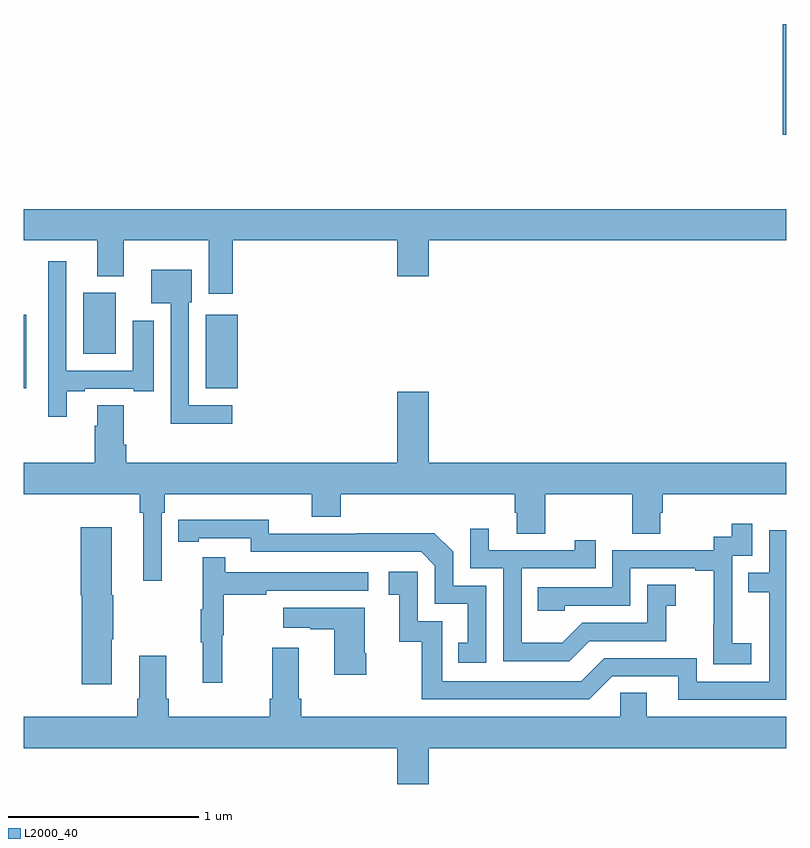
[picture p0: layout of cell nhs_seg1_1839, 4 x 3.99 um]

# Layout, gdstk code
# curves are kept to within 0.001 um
import gdstk
lib = gdstk.Library(unit=1e-6, precision=1e-09)
def R(c, l, rs):  # rectangles x0, y0, x1, y1
    for r in rs: c.add(gdstk.rectangle(r[:2], r[2:], *l))
def P(c, l, *ps):  # polygons
    for p in ps: c.add(gdstk.Polygon(p, *l))
L2000_40 = (2000, 40)

nhs_seg1_1839 = lib.new_cell('nhs_seg1_1839')
R(nhs_seg1_1839, L2000_40, [(211,552.287,211.012,552.673), (211.955,552.287,212.122,552.673), (211.313,552.47,211.483,552.79), (214.982,553.617,215,554.199)])
P(nhs_seg1_1839, L2000_40, [(212.096,553.064),(212.96,553.064),(212.96,552.876),(213.124,552.876),(213.124,553.064),(215,553.064),(215,553.228),(211,553.228),(211,553.064),(211.385,553.064),(211.385,552.875),(211.525,552.875),(211.525,553.064),(211.97,553.064),(211.97,552.783),(212.096,552.783)],
  [(211.225,552.273),(211.321,552.273),(211.321,552.285),(211.577,552.285),(211.577,552.273),(211.681,552.273),(211.681,552.643),(211.571,552.643),(211.571,552.381),(211.224,552.381),(211.224,552.955),(211.128,552.955),(211.128,552.138),(211.225,552.138)],
  [(212.095,552.198),(211.866,552.198),(211.866,552.738),(211.882,552.738),(211.882,552.91),(211.67,552.91),(211.67,552.734),(211.77,552.734),(211.77,552.101),(212.095,552.101)],
  [(211.725,551.636),(211.739,551.636),(211.739,551.732),(212.51,551.732),(212.51,551.615),(212.663,551.615),(212.663,551.732),(213.575,551.732),(213.575,551.634),(213.587,551.634),(213.587,551.524),(213.735,551.524),(213.735,551.732),(214.192,551.732),(214.192,551.524),(214.339,551.524),(214.339,551.634),(214.352,551.634),(214.352,551.732),(215,551.732),(215,551.896),(213.124,551.896),(213.124,552.271),(212.96,552.271),(212.96,551.896),(211.538,551.896),(211.538,551.992),(211.525,551.992),(211.525,552.2),(211.385,552.2),(211.385,552.092),(211.373,552.092),(211.373,551.896),(211,551.896),(211,551.732),(211.609,551.732),(211.609,551.636),(211.628,551.636),(211.628,551.277),(211.725,551.277)],
  [(213.426,551.253),(213.252,551.253),(213.252,551.43),(213.154,551.528),(212.746,551.528),(212.746,551.526),(212.286,551.526),(212.286,551.599),(211.81,551.598),(211.81,551.482),(211.918,551.482),(211.918,551.502),(212.19,551.502),(212.19,551.43),(213.084,551.43),(213.156,551.358),(213.156,551.157),(213.329,551.157),(213.329,550.953),(213.28,550.953),(213.28,550.848),(213.426,550.848)],
  [(214.816,550.951),(214.718,550.951),(214.718,551.18),(214.716,551.18),(214.716,551.409),(214.821,551.409),(214.821,551.578),(214.713,551.578),(214.713,551.508),(214.62,551.508),(214.62,551.439),(214.086,551.439),(214.086,551.244),(213.697,551.244),(213.697,551.121),(213.837,551.121),(213.837,551.148),(214.182,551.148),(214.182,551.343),(214.523,551.343),(214.523,551.331),(214.619,551.331),(214.619,551.047),(214.618,551.047),(214.618,550.841),(214.816,550.841)],
  [(211.462,550.972),(211.47,550.972),(211.47,551.202),(211.462,551.202),(211.462,551.56),(211.298,551.56),(211.298,551.202),(211.304,551.202),(211.304,550.734),(211.462,550.734)],
  [(213.967,550.962),(214.371,550.962),(214.371,551.147),(214.42,551.147),(214.42,551.257),(214.272,551.257),(214.272,551.058),(213.93,551.058),(213.826,550.954),(213.612,550.954),(213.612,551.343),(214.001,551.343),(214.001,551.491),(213.89,551.491),(213.89,551.439),(213.439,551.439),(213.439,551.551),(213.342,551.551),(213.342,551.343),(213.516,551.343),(213.516,550.857),(213.862,550.857)],
  [(215,551.544),(214.911,551.544),(214.911,551.319),(214.801,551.319),(214.801,551.218),(214.911,551.218),(214.911,550.749),(214.53,550.749),(214.53,550.872),(214.044,550.872),(213.924,550.752),(213.195,550.752),(213.195,551.067),(213.066,551.067),(213.066,551.326),(212.916,551.326),(212.916,551.205),(212.969,551.205),(212.969,550.959),(213.087,550.959),(213.087,550.656),(213.966,550.656),(214.086,550.776),(214.433,550.776),(214.433,550.653),(215,550.653)],
  [(212.042,550.992),(212.05,550.992),(212.05,551.206),(212.273,551.206),(212.273,551.226),(212.806,551.226),(212.806,551.322),(212.057,551.322),(212.057,551.401),(211.94,551.401),(211.94,551.129),(211.929,551.129),(211.929,550.955),(211.94,550.955),(211.94,550.743),(212.042,550.743)],
  [(212.796,550.897),(212.788,550.897),(212.788,551.137),(212.361,551.137),(212.361,551.033),(212.504,551.033),(212.504,551.023),(212.63,551.023),(212.63,550.785),(212.796,550.785)],
  [(213.124,550.4),(215,550.4),(215,550.564),(214.267,550.564),(214.267,550.691),(214.128,550.691),(214.128,550.564),(212.456,550.564),(212.456,550.66),(212.443,550.66),(212.443,550.927),(212.303,550.927),(212.303,550.66),(212.291,550.66),(212.291,550.564),(211.76,550.564),(211.76,550.66),(211.747,550.66),(211.747,550.885),(211.607,550.885),(211.607,550.66),(211.595,550.66),(211.595,550.564),(211,550.564),(211,550.4),(212.96,550.4),(212.96,550.212),(213.124,550.212)])

lib.write_gds('nhs_seg1_1839.gds')
